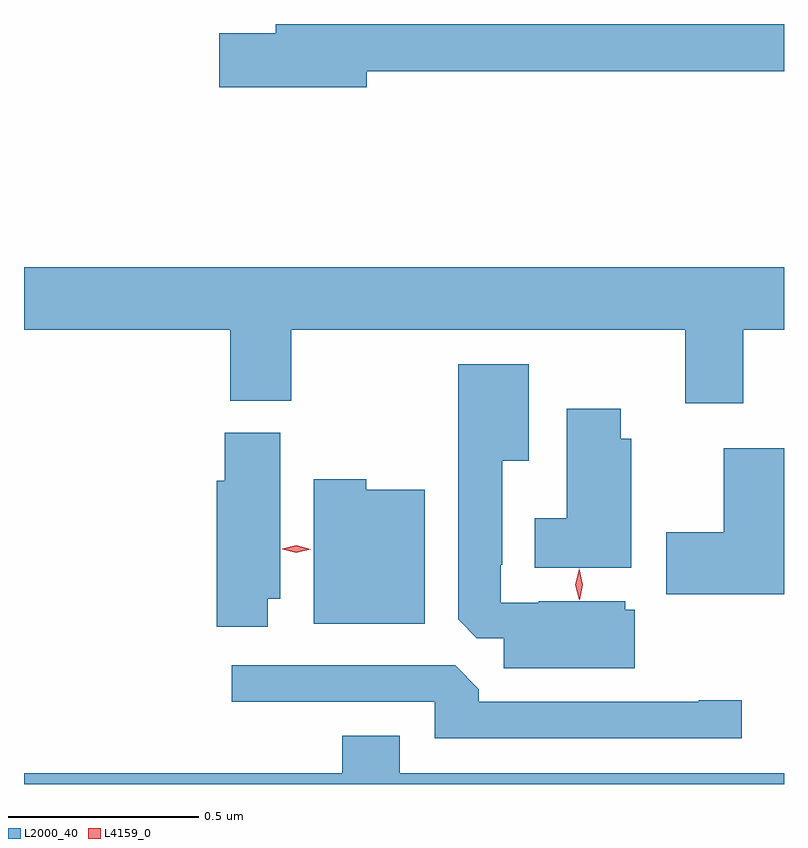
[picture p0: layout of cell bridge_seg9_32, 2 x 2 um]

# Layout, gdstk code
import gdstk
lib = gdstk.Library(unit=1e-6, precision=1e-09)
def P(c, l, *ps):  # polygons
    for p in ps: c.add(gdstk.Polygon(p, *l))
L2000_40 = (2000, 40)
L4159_0 = (4159, 0)

bridge_seg9_32 = lib.new_cell('bridge_seg9_32')
P(bridge_seg9_32, L2000_40, [(987.346,1199.764),(988.444,1199.764),(988.444,1199.888),(987.107,1199.888),(987.107,1199.864),(986.958,1199.864),(986.958,1199.722),(987.346,1199.722)],
  [(988.337,1199.084),(988.444,1199.084),(988.444,1199.248),(986.444,1199.248),(986.444,1199.084),(986.987,1199.084),(986.987,1198.897),(987.147,1198.897),(987.147,1199.084),(988.184,1199.084),(988.184,1198.89),(988.337,1198.89)],
  [(988.051,1198.347),(988.026,1198.347),(988.026,1198.369),(987.799,1198.369),(987.799,1198.365),(987.699,1198.365),(987.699,1198.465),(987.703,1198.465),(987.703,1198.739),(987.772,1198.739),(987.772,1198.993),(987.587,1198.993),(987.587,1198.321),(987.636,1198.272),(987.707,1198.272),(987.707,1198.193),(988.051,1198.193)],
  [(988.042,1198.797),(988.015,1198.797),(988.015,1198.876),(987.872,1198.876),(987.872,1198.588),(987.788,1198.588),(987.788,1198.457),(988.042,1198.457)],
  [(987.085,1198.376),(987.118,1198.376),(987.118,1198.812),(986.972,1198.812),(986.972,1198.686),(986.951,1198.686),(986.951,1198.302),(987.085,1198.302)],
  [(988.444,1198.771),(988.286,1198.771),(988.286,1198.551),(988.134,1198.551),(988.134,1198.388),(988.444,1198.388)],
  [(987.499,1198.663),(987.345,1198.663),(987.345,1198.69),(987.206,1198.69),(987.206,1198.31),(987.499,1198.31)],
  [(988.333,1198.109),(988.22,1198.109),(988.22,1198.104),(987.641,1198.104),(987.641,1198.138),(987.579,1198.2),(986.991,1198.2),(986.991,1198.104),(987.525,1198.104),(987.525,1198.008),(988.333,1198.008)],
  [(988.444,1197.916),(987.433,1197.916),(987.433,1198.015),(987.281,1198.015),(987.281,1197.916),(986.444,1197.916),(986.444,1197.888),(988.444,1197.888)])
P(bridge_seg9_32, L4159_0, [(987.905,1198.373),(987.895,1198.413),(987.905,1198.454),(987.905,1198.454),(987.905,1198.454),(987.915,1198.413),(987.906,1198.373),(987.906,1198.373)],
  [(987.161,1198.496),(987.123,1198.506),(987.123,1198.506),(987.123,1198.507),(987.161,1198.516),(987.199,1198.506),(987.199,1198.506),(987.199,1198.506)])

lib.write_gds('bridge_seg9_32.gds')
